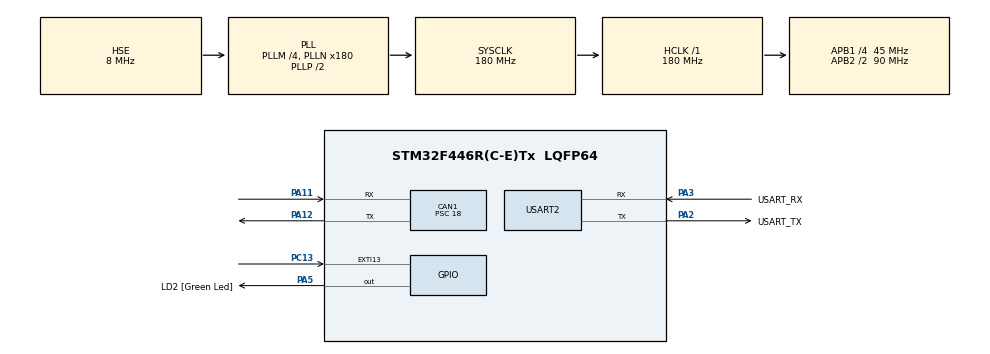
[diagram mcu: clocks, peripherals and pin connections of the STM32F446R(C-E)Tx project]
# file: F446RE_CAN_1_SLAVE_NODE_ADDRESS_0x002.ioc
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CAN1.BS1=CAN_BS1_2TQ
CAN1.BS2=CAN_BS2_2TQ
CAN1.CalculateBaudRate=500000
CAN1.CalculateTimeBit=2000
CAN1.CalculateTimeQuantum=400.0
CAN1.Prescaler=18
Mcu.Family=STM32F4
Mcu.Name=STM32F446R(C-E)Tx
Mcu.Package=LQFP64
NVIC.CAN1_RX0_IRQn=true\:0\:0\:false\:false\:true\:true\:true\:true
NVIC.EXTI15_10_IRQn=true\:0\:0\:false\:false\:true\:true\:true\:true
NVIC.PriorityGroup=NVIC_PRIORITYGROUP_0
PA11.Mode=CAN_Activate
PA11.Signal=CAN1_RX
PA12.Mode=CAN_Activate
PA12.Signal=CAN1_TX
PA13.GPIO_Label=TMS
PA13.Mode=Serial_Wire
PA13.Signal=SYS_JTMS-SWDIO
PA14.GPIO_Label=TCK
PA14.Mode=Serial_Wire
PA14.Signal=SYS_JTCK-SWCLK
PA2.GPIO_Label=USART_TX
PA2.Mode=Asynchronous
PA2.Signal=USART2_TX
PA3.GPIO_Label=USART_RX
PA3.Mode=Asynchronous
PA3.Signal=USART2_RX
PA5.GPIO_Label=LD2 [Green Led]
PA5.Signal=GPIO_Output
PB3.GPIO_Label=SWO
PB3.Signal=SYS_JTDO-SWO
PC13.Signal=GPXTI13
PC14-OSC32_IN.Mode=LSE-External-Oscillator
PC14-OSC32_IN.Signal=RCC_OSC32_IN
PC15-OSC32_OUT.Mode=LSE-External-Oscillator
PC15-OSC32_OUT.Signal=RCC_OSC32_OUT
PH0-OSC_IN.Mode=HSE-External-Oscillator
PH0-OSC_IN.Signal=RCC_OSC_IN
PH1-OSC_OUT.Mode=HSE-External-Oscillator
PH1-OSC_OUT.Signal=RCC_OSC_OUT
ProjectManager.HeapSize=0x200
ProjectManager.StackSize=0x400
ProjectManager.TargetToolchain=STM32CubeIDE
RCC.48MHZClocksFreq_Value=84000000
RCC.AHBFreq_Value=180000000
RCC.APB1CLKDivider=RCC_HCLK_DIV4
RCC.APB1Freq_Value=45000000
RCC.APB1TimFreq_Value=90000000
RCC.APB2CLKDivider=RCC_HCLK_DIV2
RCC.APB2Freq_Value=90000000
RCC.APB2TimFreq_Value=180000000
RCC.CortexFreq_Value=180000000
RCC.FLatency-AdvancedSettings=FLASH_LATENCY_5
RCC.HCLKFreq_Value=180000000
RCC.HSE_VALUE=8000000
RCC.HSI_VALUE=16000000
RCC.PLLM=4
RCC.PLLN=180
RCC.PLLSourceVirtual=RCC_PLLSOURCE_HSE
RCC.SYSCLKFreq_VALUE=180000000
RCC.SYSCLKSource=RCC_SYSCLKSOURCE_PLLCLK
RCC.USBFreq_Value=180000000
RCC.VCOOutputFreq_Value=360000000
USART2.VirtualMode=VM_ASYNC
board=NUCLEO-F446RE

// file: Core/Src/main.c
/* USER CODE BEGIN Header */
/**
  ******************************************************************************
  * @file           : main.c
  * @brief          : Main program body
  ******************************************************************************
  * @attention
  *
  * Copyright (c) 2024 STMicroelectronics.
  * All rights reserved.
  *
  * This software is licensed under terms that can be found in the LICENSE file
  * in the root directory of this software component.
  * If no LICENSE file comes with this software, it is provided AS-IS.
  *
  ******************************************************************************
  */
/* USER CODE END Header */
#include "main.h"

CAN_HandleTypeDef hcan1;

UART_HandleTypeDef huart2;

/* USER CODE BEGIN PV */

CAN_RxHeaderTypeDef RxHeader;

uint8_t RxData[8];

/* USER CODE END PV */

void SystemClock_Config(void);
static void MX_GPIO_Init(void);
static void MX_USART2_UART_Init(void);
static void MX_CAN1_Init(void);

/* USER CODE BEGIN 0 */
uint8_t can_Rxcptl = 0;

void HAL_CAN_RxFifo0MsgPendingCallback(CAN_HandleTypeDef *hcan)
{
	HAL_CAN_GetRxMessage(hcan, CAN_RX_FIFO0, &RxHeader,RxData);

	if(RxHeader.DLC == 8)
	{
		can_Rxcptl = 1;
	}
}
/* USER CODE END 0 */

int main(void)
{

  /* MCU Configuration--------------------------------------------------------*/

  /* Reset of all peripherals, Initializes the Flash interface and the Systick. */
  HAL_Init();

  /* Configure the system clock */
  SystemClock_Config();

  /* Initialize all configured peripherals */
  MX_GPIO_Init();
  MX_USART2_UART_Init();
  MX_CAN1_Init();
  /* USER CODE BEGIN 2 */
  HAL_CAN_Start(&hcan1);

  HAL_CAN_ActivateNotification(&hcan1, CAN_IT_RX_FIFO0_MSG_PENDING);

  /* USER CODE END 2 */

  /* Infinite loop */
  /* USER CODE BEGIN WHILE */
  while (1)
  {
	  if(can_Rxcptl)
	  {
		  for(uint8_t i=0;i<RxData[7];i++)
		  {
			  HAL_GPIO_TogglePin(LD2_GPIO_Port, LD2_Pin);
			  HAL_Delay(200);

		  }
		  can_Rxcptl = 0;
	  }
    /* USER CODE END WHILE */

  }
}

void SystemClock_Config(void)
{
  RCC_OscInitTypeDef RCC_OscInitStruct = {0};
  RCC_ClkInitTypeDef RCC_ClkInitStruct = {0};

  /** Configure the main internal regulator output voltage
  */
  __HAL_RCC_PWR_CLK_ENABLE();
  __HAL_PWR_VOLTAGESCALING_CONFIG(PWR_REGULATOR_VOLTAGE_SCALE1);

  /** Initializes the RCC Oscillators according to the specified parameters
  * in the RCC_OscInitTypeDef structure.
  */
  RCC_OscInitStruct.OscillatorType = RCC_OSCILLATORTYPE_HSE;
  RCC_OscInitStruct.HSEState = RCC_HSE_ON;
  RCC_OscInitStruct.PLL.PLLState = RCC_PLL_ON;
  RCC_OscInitStruct.PLL.PLLSource = RCC_PLLSOURCE_HSE;
  RCC_OscInitStruct.PLL.PLLM = 4;
  RCC_OscInitStruct.PLL.PLLN = 180;
  RCC_OscInitStruct.PLL.PLLP = RCC_PLLP_DIV2;
  RCC_OscInitStruct.PLL.PLLQ = 2;
  RCC_OscInitStruct.PLL.PLLR = 2;
  if (HAL_RCC_OscConfig(&RCC_OscInitStruct) != HAL_OK)
  {
    Error_Handler();
  }

  /** Activate the Over-Drive mode
  */
  if (HAL_PWREx_EnableOverDrive() != HAL_OK)
  {
    Error_Handler();
  }

  /** Initializes the CPU, AHB and APB buses clocks
  */
  RCC_ClkInitStruct.ClockType = RCC_CLOCKTYPE_HCLK|RCC_CLOCKTYPE_SYSCLK
                              |RCC_CLOCKTYPE_PCLK1|RCC_CLOCKTYPE_PCLK2;
  RCC_ClkInitStruct.SYSCLKSource = RCC_SYSCLKSOURCE_PLLCLK;
  RCC_ClkInitStruct.AHBCLKDivider = RCC_SYSCLK_DIV1;
  RCC_ClkInitStruct.APB1CLKDivider = RCC_HCLK_DIV4;
  RCC_ClkInitStruct.APB2CLKDivider = RCC_HCLK_DIV2;

  if (HAL_RCC_ClockConfig(&RCC_ClkInitStruct, FLASH_LATENCY_5) != HAL_OK)
  {
    Error_Handler();
  }
}

static void MX_CAN1_Init(void)
{

  hcan1.Instance = CAN1;
  hcan1.Init.Prescaler = 18;
  hcan1.Init.Mode = CAN_MODE_NORMAL;
  hcan1.Init.SyncJumpWidth = CAN_SJW_1TQ;
  hcan1.Init.TimeSeg1 = CAN_BS1_2TQ;
  hcan1.Init.TimeSeg2 = CAN_BS2_2TQ;
  hcan1.Init.TimeTriggeredMode = DISABLE;
  hcan1.Init.AutoBusOff = DISABLE;
  hcan1.Init.AutoWakeUp = DISABLE;
  hcan1.Init.AutoRetransmission = DISABLE;
  hcan1.Init.ReceiveFifoLocked = DISABLE;
  hcan1.Init.TransmitFifoPriority = DISABLE;
  if (HAL_CAN_Init(&hcan1) != HAL_OK)
  {
    Error_Handler();
  }
  /* USER CODE BEGIN CAN1_Init 2 */
  CAN_FilterTypeDef sfilterConfig = {0};

  sfilterConfig.FilterActivation = CAN_FILTER_ENABLE;
  sfilterConfig.FilterBank = 10;
  sfilterConfig.FilterFIFOAssignment = CAN_RX_FIFO0;
  sfilterConfig.FilterIdHigh = 0x123 << 5;
  sfilterConfig.FilterIdLow = 0x000;
  sfilterConfig.FilterMaskIdHigh = 0x7FF << 5;
  sfilterConfig.FilterMaskIdLow = 0x000;
  sfilterConfig.FilterMode = CAN_FILTERMODE_IDMASK;
  sfilterConfig.FilterScale = CAN_FILTERSCALE_32BIT;
  sfilterConfig.SlaveStartFilterBank = 0;

  if(HAL_CAN_ConfigFilter(&hcan1, &sfilterConfig) != HAL_OK)
  {
	  Error_Handler();
  }
  /* USER CODE END CAN1_Init 2 */

}

static void MX_USART2_UART_Init(void)
{

  huart2.Instance = USART2;
  huart2.Init.BaudRate = 115200;
  huart2.Init.WordLength = UART_WORDLENGTH_8B;
  huart2.Init.StopBits = UART_STOPBITS_1;
  huart2.Init.Parity = UART_PARITY_NONE;
  huart2.Init.Mode = UART_MODE_TX_RX;
  huart2.Init.HwFlowCtl = UART_HWCONTROL_NONE;
  huart2.Init.OverSampling = UART_OVERSAMPLING_16;
  if (HAL_UART_Init(&huart2) != HAL_OK)
  {
    Error_Handler();
  }

}

static void MX_GPIO_Init(void)
{
  GPIO_InitTypeDef GPIO_InitStruct = {0};

  /* GPIO Ports Clock Enable */
  __HAL_RCC_GPIOC_CLK_ENABLE();
  __HAL_RCC_GPIOH_CLK_ENABLE();
  __HAL_RCC_GPIOA_CLK_ENABLE();
  __HAL_RCC_GPIOB_CLK_ENABLE();

  /*Configure GPIO pin Output Level */
  HAL_GPIO_WritePin(LD2_GPIO_Port, LD2_Pin, GPIO_PIN_RESET);

  /*Configure GPIO pin : PC13 */
  GPIO_InitStruct.Pin = GPIO_PIN_13;
  GPIO_InitStruct.Mode = GPIO_MODE_IT_RISING;
  GPIO_InitStruct.Pull = GPIO_NOPULL;
  HAL_GPIO_Init(GPIOC, &GPIO_InitStruct);

  /*Configure GPIO pin : LD2_Pin */
  GPIO_InitStruct.Pin = LD2_Pin;
  GPIO_InitStruct.Mode = GPIO_MODE_OUTPUT_PP;
  GPIO_InitStruct.Pull = GPIO_NOPULL;
  GPIO_InitStruct.Speed = GPIO_SPEED_FREQ_LOW;
  HAL_GPIO_Init(LD2_GPIO_Port, &GPIO_InitStruct);

  /* EXTI interrupt init*/
  HAL_NVIC_SetPriority(EXTI15_10_IRQn, 0, 0);
  HAL_NVIC_EnableIRQ(EXTI15_10_IRQn);

}

void Error_Handler(void)
{
  __disable_irq();
  while (1)
  {
  }
}
